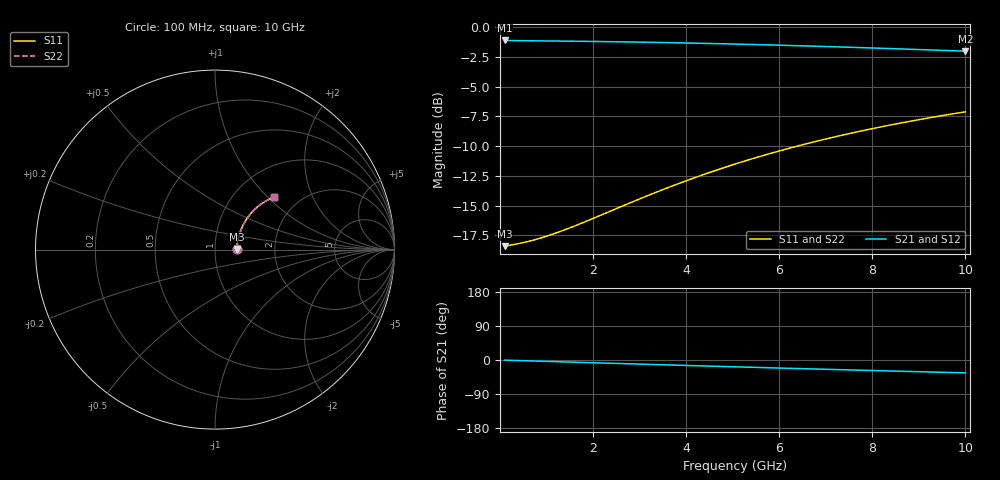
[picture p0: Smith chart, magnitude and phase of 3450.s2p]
# Hz S RI R 50.00
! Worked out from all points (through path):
!   100 points, 100 MHz to 10 GHz, reference 50 ohm
!   highest |S21| = -1.11 dB at 100 MHz (marker M1); lowest = -2.0 dB at 10 GHz (marker M2)
!   group delay of S21, straight-line fit = 9.46 ps
!   lowest |S11| = -18.4 dB at 100 MHz (marker M3), VSWR 1.27, Z = 63.6 + j0.532 ohm
!   |S11| at or under -10 dB: start of sweep to 6.389 GHz
!   |S22| runs from -18.4 to -7.1 dB; largest |S21 - S12| = 0
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1e8  0.1199 0.00412  0.8801 -0.0056  0.8801 -0.0056  0.1199 0.00412
5e8  0.1225 0.0205  0.8775 -0.0279  0.8775 -0.0279  0.1225 0.0205
7e8  0.1237 0.0286  0.8763 -0.039  0.8763 -0.039  0.1237 0.0286
9e8  0.125 0.0367  0.8749 -0.05  0.8749 -0.05  0.125 0.0367
1.1e9  0.1264 0.0447  0.8734 -0.061  0.8734 -0.061  0.1264 0.0447
1.3e9  0.128 0.0527  0.8718 -0.072  0.8718 -0.072  0.128 0.0527
1.8e9  0.1327 0.0724  0.8669 -0.0992  0.8669 -0.0992  0.1327 0.0724
2.6e9  0.1424 0.1031  0.8567 -0.1418  0.8567 -0.1418  0.1424 0.1031
3.4e9  0.1549 0.1324  0.8437 -0.183  0.8437 -0.183  0.1549 0.1324
3.9e9  0.1641 0.1499  0.8341 -0.2079  0.8341 -0.2079  0.1641 0.1499
4.3e9  0.1721 0.1634  0.8257 -0.2274  0.8257 -0.2274  0.1721 0.1634
4.7e9  0.1806 0.1763  0.8167 -0.2463  0.8167 -0.2463  0.1806 0.1763
5.1e9  0.1897 0.1887  0.8072 -0.2647  0.8072 -0.2647  0.1897 0.1887
5.5e9  0.1994 0.2006  0.797 -0.2826  0.797 -0.2826  0.1994 0.2006
5.9e9  0.2094 0.2119  0.7864 -0.2999  0.7864 -0.2999  0.2094 0.2119
6.3e9  0.2199 0.2226  0.7754 -0.3166  0.7754 -0.3166  0.2199 0.2226
6.7e9  0.2308 0.2327  0.7639 -0.3327  0.7639 -0.3327  0.2308 0.2327
7.5e9  0.2535 0.2511  0.7398 -0.3632  0.7398 -0.3632  0.2535 0.2511
7.9e9  0.2653 0.2593  0.7273 -0.3775  0.7273 -0.3775  0.2653 0.2593
8.4e9  0.2803 0.2688  0.7112 -0.3945  0.7112 -0.3945  0.2803 0.2688
9.2e9  0.3049 0.2818  0.685 -0.4197  0.685 -0.4197  0.3049 0.2818
1e10  0.3299 0.2924  0.6581 -0.4426  0.6581 -0.4426  0.3299 0.2924
